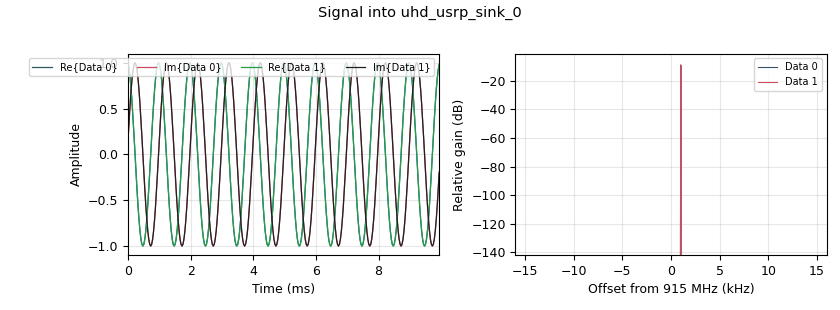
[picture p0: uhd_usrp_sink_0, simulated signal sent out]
<?xml version='1.0' encoding='utf-8'?>
<?grc format='1' created='3.7.5'?>
<flow_graph>
<block>
<key>options</key>
<param><key>id</key><value>top_block</value></param>
<param><key>generate_options</key><value>wx_gui</value></param>
<param><key>category</key><value>Custom</value></param>
</block>
<block>
<key>variable</key>
<param><key>id</key><value>samp_rate</value></param>
<param><key>value</key><value>32000</value></param>
</block>
<block>
<key>variable</key>
<param><key>id</key><value>mclk</value></param>
<param><key>value</key><value>30e6</value></param>
</block>
<block>
<key>variable</key>
<param><key>id</key><value>samp_rate_0</value></param>
<param><key>value</key><value>1e6</value></param>
</block>
<block>
<key>variable</key>
<param><key>id</key><value>rx_gain</value></param>
<param><key>value</key><value>10</value></param>
</block>
<block>
<key>variable</key>
<param><key>id</key><value>center_freq</value></param>
<param><key>value</key><value>915e6</value></param>
</block>
<block>
<key>variable</key>
<param><key>id</key><value>tx_gain</value></param>
<param><key>value</key><value>10</value></param>
</block>
<block>
<key>variable</key>
<param><key>id</key><value>items</value></param>
<param><key>value</key><value>10000000</value></param>
</block>
<block>
<key>analog_sig_source_x</key>
<param><key>id</key><value>analog_sig_source_x_1</value></param>
<param><key>type</key><value>complex</value></param>
<param><key>samp_rate</key><value>samp_rate</value></param>
<param><key>waveform</key><value>analog.GR_COS_WAVE</value></param>
<param><key>freq</key><value>1000</value></param>
<param><key>amp</key><value>1</value></param>
<param><key>offset</key><value>0</value></param>
</block>
<block>
<key>analog_sig_source_x</key>
<param><key>id</key><value>analog_sig_source_x_0</value></param>
<param><key>type</key><value>complex</value></param>
<param><key>samp_rate</key><value>samp_rate</value></param>
<param><key>waveform</key><value>analog.GR_COS_WAVE</value></param>
<param><key>freq</key><value>1000</value></param>
<param><key>amp</key><value>1</value></param>
<param><key>offset</key><value>0</value></param>
</block>
<block>
<key>uhd_usrp_sink</key>
<param><key>id</key><value>uhd_usrp_sink_0</value></param>
<param><key>type</key><value>fc32</value></param>
<param><key>dev_args</key><value>""</value></param>
<param><key>sync</key><value></value></param>
<param><key>clock_rate</key><value>mclk</value></param>
<param><key>nchan</key><value>2</value></param>
<param><key>samp_rate</key><value>samp_rate</value></param>
<param><key>center_freq0</key><value>center_freq</value></param>
<param><key>gain0</key><value>tx_gain</value></param>
<param><key>ant0</key><value></value></param>
<param><key>center_freq1</key><value>center_freq</value></param>
<param><key>gain1</key><value>tx_gain</value></param>
<param><key>ant1</key><value></value></param>
<param><key>len_tag_name</key><value></value></param>
</block>
<block>
<key>uhd_usrp_source</key>
<param><key>id</key><value>uhd_usrp_source_0</value></param>
<param><key>type</key><value>fc32</value></param>
<param><key>dev_args</key><value>""</value></param>
<param><key>sync</key><value></value></param>
<param><key>clock_rate</key><value>mclk</value></param>
<param><key>nchan</key><value>2</value></param>
<param><key>samp_rate</key><value>samp_rate</value></param>
<param><key>center_freq0</key><value>center_freq</value></param>
<param><key>gain0</key><value>rx_gain</value></param>
<param><key>ant0</key><value></value></param>
<param><key>center_freq1</key><value>center_freq</value></param>
<param><key>gain1</key><value>rx_gain</value></param>
<param><key>ant1</key><value></value></param>
</block>
<block>
<key>wxgui_scopesink2</key>
<param><key>id</key><value>wxgui_scopesink2_0</value></param>
<param><key>type</key><value>complex</value></param>
<param><key>title</key><value>Scope Plot</value></param>
<param><key>samp_rate</key><value>samp_rate</value></param>
<param><key>v_scale</key><value>0</value></param>
<param><key>v_offset</key><value>0</value></param>
<param><key>t_scale</key><value>0</value></param>
<param><key>ac_couple</key><value>False</value></param>
<param><key>xy_mode</key><value>False</value></param>
<param><key>num_inputs</key><value>2</value></param>
<param><key>trig_mode</key><value>wxgui.TRIG_MODE_AUTO</value></param>
<param><key>y_axis_label</key><value>Counts</value></param>
</block>
<connection><source_block_id>analog_sig_source_x_1</source_block_id><sink_block_id>uhd_usrp_sink_0</sink_block_id><source_key>0</source_key><sink_key>0</sink_key></connection>
<connection><source_block_id>analog_sig_source_x_0</source_block_id><sink_block_id>uhd_usrp_sink_0</sink_block_id><source_key>0</source_key><sink_key>1</sink_key></connection>
<connection><source_block_id>uhd_usrp_source_0</source_block_id><sink_block_id>wxgui_scopesink2_0</sink_block_id><source_key>0</source_key><sink_key>0</sink_key></connection>
<connection><source_block_id>uhd_usrp_source_0</source_block_id><sink_block_id>wxgui_scopesink2_0</sink_block_id><source_key>1</source_key><sink_key>1</sink_key></connection>
</flow_graph>
